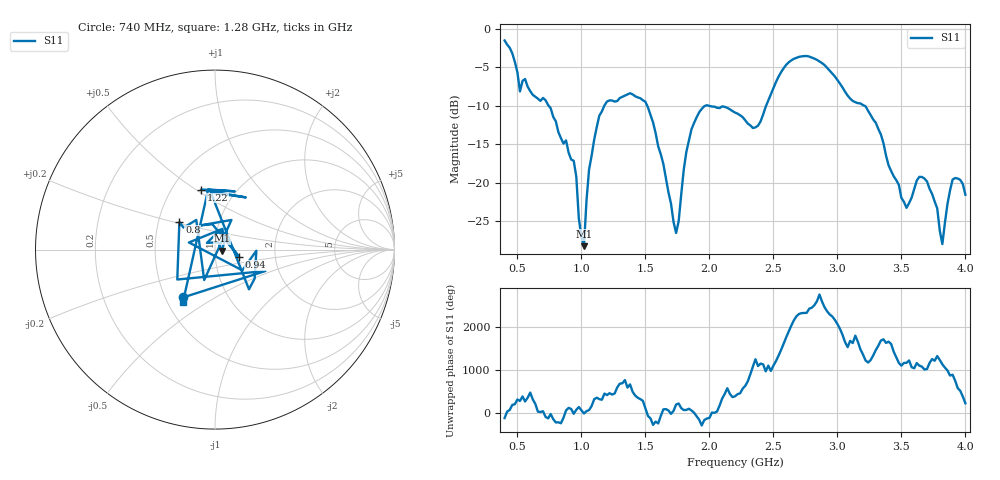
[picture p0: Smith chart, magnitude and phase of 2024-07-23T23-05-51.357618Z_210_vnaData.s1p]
!Created with skrf (http://scikit-rf.org).
# Hz S RI R 50.0
!freq ReS11 ImS11
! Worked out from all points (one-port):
!   181 points, 400 MHz to 4 GHz, reference 50 ohm
!   lowest |S11| = -28.2 dB at 1.02 GHz (marker M1), VSWR 1.08, Z = 54 - j0.72 ohm
!   |S11| at or under -10 dB: 1.515 GHz to 1.966 GHz (451.1 MHz wide, 25.9 % of centre); 2 GHz to 2.442 GHz (442.5 MHz wide, 19.9 % of centre); 3.214 GHz to end of sweep (the widest 3 of 4)
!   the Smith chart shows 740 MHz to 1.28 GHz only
!   S11 on the Smith chart (normalised r, x): 740 MHz: 0.62, -0.37; 800 MHz: 0.64, +0.21; 940 MHz: 1.30, -0.11; 1.22 GHz: 0.69, +0.53; 1.28 GHz: 0.60, -0.39
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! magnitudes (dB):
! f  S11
! 400 MHz  -1.5
! 520 MHz  -8.1
! 740 MHz  -9.9
! 800 MHz  -12.0
! 860 MHz  -14.9
! 940 MHz  -17.1
! 1.02 GHz  -28.2
! 1.06 GHz  -18.2
! 1.1 GHz  -14.4
! 1.22 GHz  -9.3
! 1.28 GHz  -9.4
! 1.3 GHz  -9.0
! 1.5 GHz  -9.5
! 1.74 GHz  -26.5
! 1.76 GHz  -25.0
! 1.82 GHz  -16.0
! 1.92 GHz  -10.8
! 2.2 GHz  -10.9
! 2.38 GHz  -12.6
! 2.66 GHz  -3.9
! 2.88 GHz  -4.4
! 3.1 GHz  -9.0
! 3.3 GHz  -12.2
! 3.56 GHz  -22.6
! 3.7 GHz  -19.8
! 3.82 GHz  -27.9
! 3.9 GHz  -19.6
! 4 GHz  -21.5
